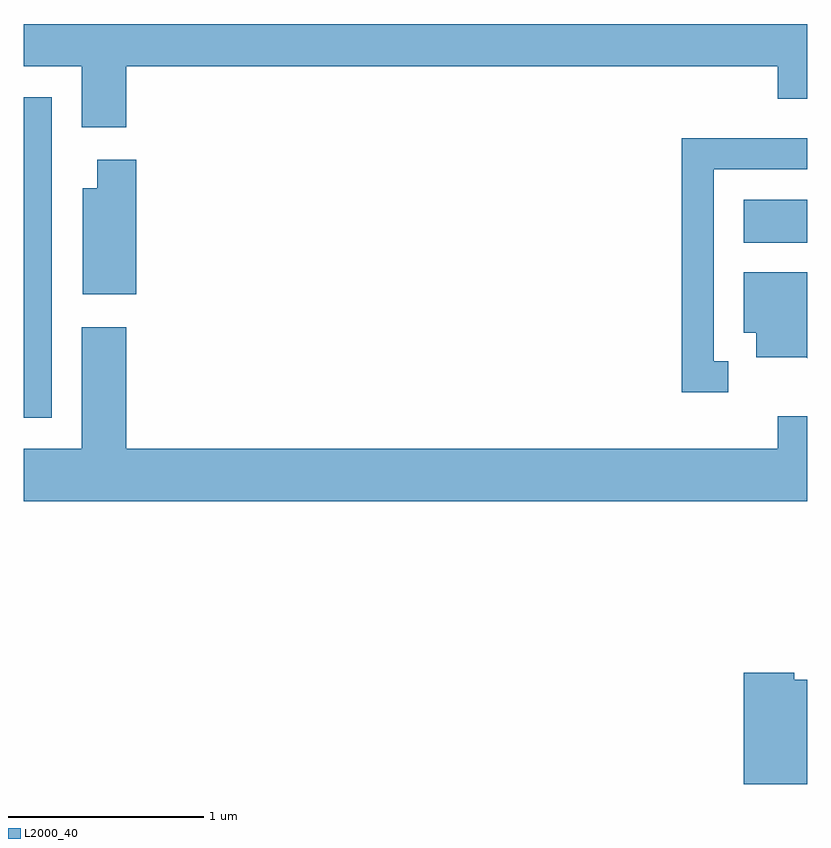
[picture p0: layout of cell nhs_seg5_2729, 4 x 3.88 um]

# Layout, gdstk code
import gdstk
lib = gdstk.Library(unit=1e-6, precision=1e-09)
def R(c, l, rs):  # rectangles x0, y0, x1, y1
    for r in rs: c.add(gdstk.rectangle(r[:2], r[2:], *l))
def P(c, l, *ps):  # polygons
    for p in ps: c.add(gdstk.Polygon(p, *l))
L2000_40 = (2000, 40)

nhs_seg5_2729 = lib.new_cell('nhs_seg5_2729')
R(nhs_seg5_2729, L2000_40, [(265.611,1506.061,265.754,1507.699), (269.286,1506.956,269.611,1507.174)])
P(nhs_seg5_2729, L2000_40, [(266.134,1507.856),(269.461,1507.856),(269.461,1507.691),(269.611,1507.691),(269.611,1508.072),(265.611,1508.072),(265.611,1507.856),(265.906,1507.856),(265.906,1507.546),(266.134,1507.546)],
  [(269.208,1506.349),(269.134,1506.349),(269.134,1507.331),(269.611,1507.331),(269.611,1507.489),(268.971,1507.489),(268.971,1506.191),(269.208,1506.191)],
  [(266.184,1507.379),(265.986,1507.379),(265.986,1507.234),(265.911,1507.234),(265.911,1506.691),(266.184,1506.691)],
  [(269.611,1506.804),(269.286,1506.804),(269.286,1506.496),(269.351,1506.496),(269.351,1506.371),(269.604,1506.371),(269.611,1506.364)],
  [(269.611,1506.069),(269.461,1506.069),(269.461,1505.904),(266.134,1505.904),(266.134,1506.524),(265.906,1506.524),(265.906,1505.904),(265.611,1505.904),(265.611,1505.636),(269.611,1505.636)],
  [(269.611,1504.724),(269.544,1504.724),(269.544,1504.759),(269.286,1504.759),(269.286,1504.191),(269.611,1504.191)])

lib.write_gds('nhs_seg5_2729.gds')
